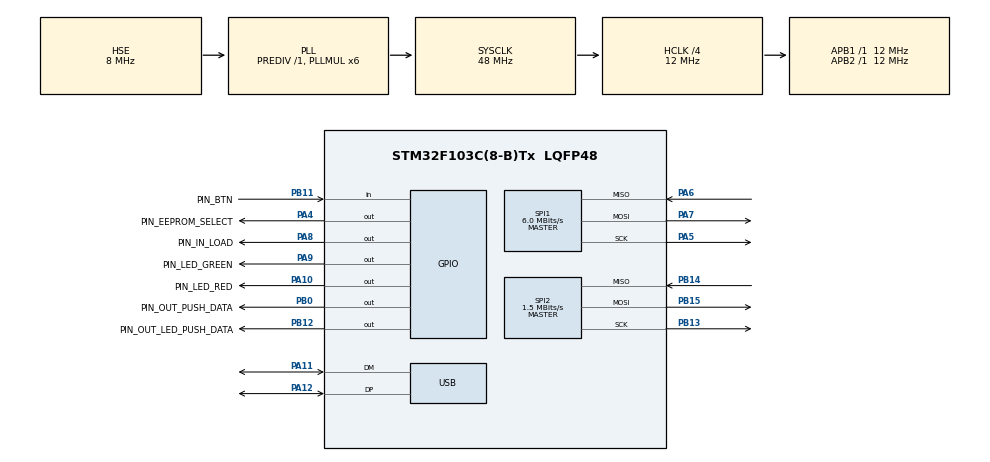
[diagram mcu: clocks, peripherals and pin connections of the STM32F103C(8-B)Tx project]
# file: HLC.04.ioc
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FREERTOS.INCLUDE_vTaskDelete=0
FREERTOS.INCLUDE_vTaskSuspend=0
FREERTOS.MEMORY_ALLOCATION=1
FREERTOS.Tasks01=defaultTask,24,128,StartDefaultTask,Default,NULL,Static,defaultTaskBuffer,defaultTaskControlBlock;myBtnTask,24,64,StartMyBtnTask,Default,NULL,Static,myTask02Buffer,myTask02ControlBlock
FREERTOS.configMINIMAL_STACK_SIZE=64
FREERTOS.configUSE_NEWLIB_REENTRANT=0
Mcu.Family=STM32F1
Mcu.Name=STM32F103C(8-B)Tx
Mcu.Package=LQFP48
NVIC.PriorityGroup=NVIC_PRIORITYGROUP_4
NVIC.TIM4_IRQn=true\:15\:0\:false\:false\:true\:false\:false\:true\:true
NVIC.TimeBase=TIM4_IRQn
NVIC.TimeBaseIP=TIM4
NVIC.USB_LP_CAN1_RX0_IRQn=true\:5\:0\:false\:false\:true\:true\:false\:true\:true
PA10.GPIO_Label=PIN_LED_RED
PA10.Signal=GPIO_Output
PA11.Mode=Device
PA11.Signal=USB_DM
PA12.Mode=Device
PA12.Signal=USB_DP
PA13.Mode=Trace_Asynchronous_SW
PA13.Signal=SYS_JTMS-SWDIO
PA14.Mode=Trace_Asynchronous_SW
PA14.Signal=SYS_JTCK-SWCLK
PA4.GPIO_Label=PIN_EEPROM_SELECT
PA4.Signal=GPIO_Output
PA5.Mode=Full_Duplex_Master
PA5.Signal=SPI1_SCK
PA6.Mode=Full_Duplex_Master
PA6.Signal=SPI1_MISO
PA7.Mode=Full_Duplex_Master
PA7.Signal=SPI1_MOSI
PA8.GPIO_Label=PIN_IN_LOAD
PA8.Signal=GPIO_Output
PA9.GPIO_Label=PIN_LED_GREEN
PA9.Signal=GPIO_Output
PB0.GPIO_Label=PIN_OUT_PUSH_DATA
PB0.Signal=GPIO_Output
PB11.GPIO_Label=PIN_BTN
PB11.Signal=GPIO_Input
PB12.GPIO_Label=PIN_OUT_LED_PUSH_DATA
PB12.Signal=GPIO_Output
PB13.Mode=Full_Duplex_Master
PB13.Signal=SPI2_SCK
PB14.Mode=Full_Duplex_Master
PB14.Signal=SPI2_MISO
PB15.Mode=Full_Duplex_Master
PB15.Signal=SPI2_MOSI
PB3.Mode=Trace_Asynchronous_SW
PB3.Signal=SYS_JTDO-TRACESWO
PD0-OSC_IN.Mode=HSE-External-Oscillator
PD0-OSC_IN.Signal=RCC_OSC_IN
PD1-OSC_OUT.Mode=HSE-External-Oscillator
PD1-OSC_OUT.Signal=RCC_OSC_OUT
ProjectManager.HeapSize=0x200
ProjectManager.StackSize=0x400
ProjectManager.TargetToolchain=STM32CubeIDE
RCC.AHBCLKDivider=RCC_SYSCLK_DIV4
RCC.AHBFreq_Value=12000000
RCC.APB1Freq_Value=12000000
RCC.APB1TimFreq_Value=12000000
RCC.APB2Freq_Value=12000000
RCC.APB2TimFreq_Value=12000000
RCC.HCLKFreq_Value=12000000
RCC.PLLMUL=RCC_PLL_MUL6
RCC.PLLSourceVirtual=RCC_PLLSOURCE_HSE
RCC.SYSCLKFreq_VALUE=48000000
RCC.SYSCLKSource=RCC_SYSCLKSOURCE_PLLCLK
RCC.USBFreq_Value=48000000
SPI1.BaudRatePrescaler=SPI_BAUDRATEPRESCALER_2
SPI1.CalculateBaudRate=6.0 MBits/s
SPI1.Direction=SPI_DIRECTION_2LINES
SPI1.Mode=SPI_MODE_MASTER
SPI1.VirtualType=VM_MASTER
SPI2.BaudRatePrescaler=SPI_BAUDRATEPRESCALER_8
SPI2.CalculateBaudRate=1.5 MBits/s
SPI2.Direction=SPI_DIRECTION_2LINES
SPI2.Mode=SPI_MODE_MASTER
SPI2.VirtualType=VM_MASTER
USB_DEVICE.APP_RX_DATA_SIZE=100
USB_DEVICE.APP_TX_DATA_SIZE=100
USB_DEVICE.CLASS_NAME_FS=CDC
USB_DEVICE.VirtualMode=Cdc
USB_DEVICE.VirtualModeFS=Cdc_FS
VP_FREERTOS_VS_CMSIS_V2.Mode=CMSIS_V2
VP_RTC_VS_RTC_Activate.Mode=RTC_Enabled
VP_SYS_VS_tim4.Mode=TIM4
VP_USB_DEVICE_VS_USB_DEVICE_CDC_FS.Mode=CDC_FS
board=custom

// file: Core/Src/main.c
/* USER CODE BEGIN Header */
/**
  ******************************************************************************
  * @file           : main.c
  * @brief          : Main program body
  ******************************************************************************
  * @attention
  *
  * Copyright (c) 2022 STMicroelectronics.
  * All rights reserved.
  *
  * This software is licensed under terms that can be found in the LICENSE file
  * in the root directory of this software component.
  * If no LICENSE file comes with this software, it is provided AS-IS.
  *
  ******************************************************************************
  */
/* USER CODE END Header */
#include "main.h"
#include "cmsis_os.h"
#include "rtc.h"
#include "spi.h"
#include "usb_device.h"
#include "gpio.h"

void SystemClock_Config(void);
void MX_FREERTOS_Init(void);

int main(void)
{

  /* MCU Configuration--------------------------------------------------------*/

  /* Reset of all peripherals, Initializes the Flash interface and the Systick. */
  HAL_Init();

  /* Configure the system clock */
  SystemClock_Config();

  /* Initialize all configured peripherals */
  MX_GPIO_Init();
  MX_SPI2_Init();
  MX_SPI1_Init();
  MX_RTC_Init();

  /* Init scheduler */
  osKernelInitialize();  /* Call init function for freertos objects (in freertos.c) */
  MX_FREERTOS_Init();

  /* Start scheduler */
  osKernelStart();

  /* We should never get here as control is now taken by the scheduler */
  /* Infinite loop */
  while (1)
  {

  }
}

void SystemClock_Config(void)
{
  RCC_OscInitTypeDef RCC_OscInitStruct = {0};
  RCC_ClkInitTypeDef RCC_ClkInitStruct = {0};
  RCC_PeriphCLKInitTypeDef PeriphClkInit = {0};

  /** Initializes the RCC Oscillators according to the specified parameters
  * in the RCC_OscInitTypeDef structure.
  */
  RCC_OscInitStruct.OscillatorType = RCC_OSCILLATORTYPE_LSI|RCC_OSCILLATORTYPE_HSE;
  RCC_OscInitStruct.HSEState = RCC_HSE_ON;
  RCC_OscInitStruct.HSEPredivValue = RCC_HSE_PREDIV_DIV1;
  RCC_OscInitStruct.HSIState = RCC_HSI_ON;
  RCC_OscInitStruct.LSIState = RCC_LSI_ON;
  RCC_OscInitStruct.PLL.PLLState = RCC_PLL_ON;
  RCC_OscInitStruct.PLL.PLLSource = RCC_PLLSOURCE_HSE;
  RCC_OscInitStruct.PLL.PLLMUL = RCC_PLL_MUL6;
  if (HAL_RCC_OscConfig(&RCC_OscInitStruct) != HAL_OK)
  {
    Error_Handler();
  }

  /** Initializes the CPU, AHB and APB buses clocks
  */
  RCC_ClkInitStruct.ClockType = RCC_CLOCKTYPE_HCLK|RCC_CLOCKTYPE_SYSCLK
                              |RCC_CLOCKTYPE_PCLK1|RCC_CLOCKTYPE_PCLK2;
  RCC_ClkInitStruct.SYSCLKSource = RCC_SYSCLKSOURCE_PLLCLK;
  RCC_ClkInitStruct.AHBCLKDivider = RCC_SYSCLK_DIV4;
  RCC_ClkInitStruct.APB1CLKDivider = RCC_HCLK_DIV1;
  RCC_ClkInitStruct.APB2CLKDivider = RCC_HCLK_DIV1;

  if (HAL_RCC_ClockConfig(&RCC_ClkInitStruct, FLASH_LATENCY_1) != HAL_OK)
  {
    Error_Handler();
  }
  PeriphClkInit.PeriphClockSelection = RCC_PERIPHCLK_RTC|RCC_PERIPHCLK_USB;
  PeriphClkInit.RTCClockSelection = RCC_RTCCLKSOURCE_LSI;
  PeriphClkInit.UsbClockSelection = RCC_USBCLKSOURCE_PLL;
  if (HAL_RCCEx_PeriphCLKConfig(&PeriphClkInit) != HAL_OK)
  {
    Error_Handler();
  }
}

void HAL_TIM_PeriodElapsedCallback(TIM_HandleTypeDef *htim)
{
  if (htim->Instance == TIM4) {
    HAL_IncTick();
  }
}

void Error_Handler(void)
{
  /* USER CODE BEGIN Error_Handler_Debug */
  /* User can add his own implementation to report the HAL error return state */
  __disable_irq();
  while (1)
  {
	  HAL_GPIO_TogglePin(PIN_LED_RED_GPIO_Port, PIN_LED_RED_Pin);
	  osDelay(100);
	  HAL_GPIO_TogglePin(PIN_LED_RED_GPIO_Port, PIN_LED_RED_Pin);
	  osDelay(500);
  }
  /* USER CODE END Error_Handler_Debug */
}

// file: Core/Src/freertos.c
/* USER CODE BEGIN Header */
/**
  ******************************************************************************
  * File Name          : freertos.c
  * Description        : Code for freertos applications
  ******************************************************************************
  * @attention
  *
  * Copyright (c) 2022 STMicroelectronics.
  * All rights reserved.
  *
  * This software is licensed under terms that can be found in the LICENSE file
  * in the root directory of this software component.
  * If no LICENSE file comes with this software, it is provided AS-IS.
  *
  ******************************************************************************
  */
/* USER CODE END Header */

#include "FreeRTOS.h"
#include "task.h"
#include "main.h"
#include "cmsis_os.h"

/* USER CODE BEGIN Includes */
#include "leds_walk.h"
#include "config.h"
#include "cons.h"
#include "io.h"

/* USER CODE END Includes */

typedef StaticTask_t osStaticThreadDef_t;

/* Definitions for defaultTask */
osThreadId_t defaultTaskHandle;
uint32_t defaultTaskBuffer[ 128 ];
osStaticThreadDef_t defaultTaskControlBlock;
const osThreadAttr_t defaultTask_attributes = {
  .name = "defaultTask",
  .cb_mem = &defaultTaskControlBlock,
  .cb_size = sizeof(defaultTaskControlBlock),
  .stack_mem = &defaultTaskBuffer[0],
  .stack_size = sizeof(defaultTaskBuffer),
  .priority = (osPriority_t) osPriorityNormal,
};
/* Definitions for myBtnTask */
osThreadId_t myBtnTaskHandle;
uint32_t myTask02Buffer[ 64 ];
osStaticThreadDef_t myTask02ControlBlock;
const osThreadAttr_t myBtnTask_attributes = {
  .name = "myBtnTask",
  .cb_mem = &myTask02ControlBlock,
  .cb_size = sizeof(myTask02ControlBlock),
  .stack_mem = &myTask02Buffer[0],
  .stack_size = sizeof(myTask02Buffer),
  .priority = (osPriority_t) osPriorityNormal,
};

void StartDefaultTask(void *argument);
void StartMyBtnTask(void *argument);

extern void MX_USB_DEVICE_Init(void);
void MX_FREERTOS_Init(void); /* (MISRA C 2004 rule 8.1) */

void MX_FREERTOS_Init(void) {

  /* Create the thread(s) */
  /* creation of defaultTask */
  defaultTaskHandle = osThreadNew(StartDefaultTask, NULL, &defaultTask_attributes);

  /* creation of myBtnTask */
  myBtnTaskHandle = osThreadNew(StartMyBtnTask, NULL, &myBtnTask_attributes);

}

void StartDefaultTask(void *argument)
{
  /* init code for USB_DEVICE */
  MX_USB_DEVICE_Init();
  /* USER CODE BEGIN StartDefaultTask */
  LedsWalk(0);
  loadFromFlash();
  consInit();
  initIO();

  /* Infinite loop */
  for(;;)
  {
	  HAL_GPIO_TogglePin(PIN_LED_GREEN_GPIO_Port, PIN_LED_GREEN_Pin);
	  osDelay(1);
	  HAL_GPIO_TogglePin(PIN_LED_GREEN_GPIO_Port, PIN_LED_GREEN_Pin);
	  osDelay(5);
  }
  /* USER CODE END StartDefaultTask */
}

/* USER CODE BEGIN Header_StartMyBtnTask */
/**
* @brief Function implementing the myBtnTask thread.
* @param argument: Not used
* @retval None
*/
uint16_t btn_cnt = 0;
uint16_t btn_state = 0; // up, 1 - down, 2 - press
/* USER CODE END Header_StartMyBtnTask */
void StartMyBtnTask(void *argument)
{
  /* USER CODE BEGIN StartMyBtnTask */
  /* Infinite loop */
  for(;;)
  {
	  int b = HAL_GPIO_ReadPin(PIN_BTN_GPIO_Port, PIN_BTN_Pin);
	  btn_cnt <<= 1;
	  btn_cnt |= b & 0x1;
	  if (btn_cnt == 0xff) {
		  //btn up
		  if (btn_state == 1) {
			  //btn pressed
			  LedsWalk(0);
			  firstEnableOutputs();
		  }
		  btn_state = 0;
	  } else if (btn_cnt == 0) {
		  //btn down
		  btn_state = 1;
	  }
	  osDelay(5);
  }
  /* USER CODE END StartMyBtnTask */
}
